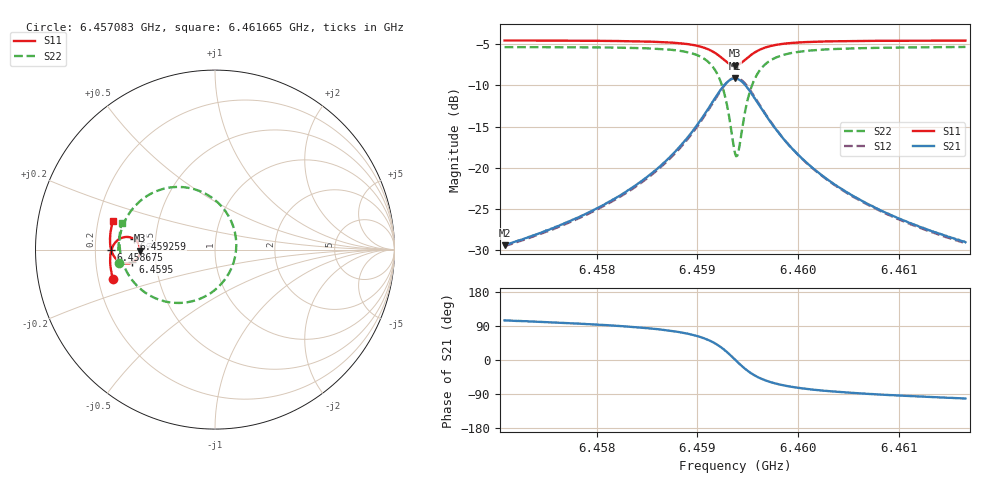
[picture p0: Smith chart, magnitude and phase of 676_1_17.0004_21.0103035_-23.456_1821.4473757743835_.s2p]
#  HZ  S  RI  R  50.00
! Rohde & Schwarz Vector Network Analyzer
! Rohde-Schwarz,ZNB20-2Port,1311601062101988,3.16
! Created: UTC 3/20/2024, 11:22:21 PM
! freq[Hz]  re:S11  im:S11  re:S21  im:S21  re:S12  im:S12  re:S22  im:S22
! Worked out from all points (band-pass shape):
!   401 points, 6.457083 GHz to 6.461665 GHz, reference 50 ohm
!   highest |S21| = -9.16 dB at 6.459374 GHz (marker M1); lowest = -29.4 dB at 6.457083 GHz (marker M2)
!   |S21| within 3 dB of the highest: 6.459143 GHz to 6.459601 GHz (458.3 kHz wide, 0.00709 % of centre)
!   lowest |S11| = -7.6 dB at 6.459374 GHz (marker M3), VSWR 2.43, Z = 20.6 - j0.294 ohm
!   |S11| at or under -10 dB: nowhere
!   |S22| runs from -18.6 to -5.3 dB; largest |S21 - S12| = 0.014
!   S11 on the Smith chart (normalised r, x): 6.457083 GHz: 0.26, -0.13; 6.458675 GHz: 0.27, -0.00; 6.459259 GHz: 0.38, +0.06; 6.4595 GHz: 0.37, -0.07; 6.461665 GHz: 0.26, +0.13
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6.4570833e9  -0.5692 -0.1636  -0.00852 0.0328  -0.00672 0.0328  -0.5339 -0.076
6.4578506e9  -0.5821 -0.096  -0.0049 0.0509  -0.00235 0.0503  -0.538 0.0145
6.4582401e9  -0.5843 -0.0572  0.000567 0.0684  0.0039 0.0671  -0.5301 0.0757
6.458618e9  -0.5798 -0.0122  0.0158 0.0995  0.0199 0.0966  -0.5018 0.16
6.4586753e9  -0.5779 -0.00418  0.0203 0.1065  0.0244 0.1032  -0.4932 0.1765
6.4588814e9  -0.5643 0.0278  0.0488 0.1389  0.0529 0.1336  -0.4399 0.2492
6.4590303e9  -0.5409 0.0537  0.0953 0.169  0.0983 0.1621  -0.3542 0.3131
6.4591678e9  -0.4961 0.0705  0.1841 0.184  0.1848 0.1765  -0.1919 0.3488
6.4592594e9  -0.4513 0.0589  0.2747 0.15  0.2746 0.1444  -0.024 0.2941
6.4593281e9  -0.4227 0.0256  0.334 0.0754  0.336 0.0705  0.0896 0.1598
6.4593739e9  -0.4168 -0.00591  0.3485 0.00654  0.3523 -0.000257  0.1188 0.0304
6.4593854e9  -0.4175 -0.014  0.3479 -0.0114  0.3516 -0.0189  0.1173 -0.00368
6.4594083e9  -0.4214 -0.0297  0.341 -0.0462  0.345 -0.0552  0.1042 -0.0697
6.4594541e9  -0.4379 -0.0554  0.3108 -0.1056  0.3129 -0.1175  0.043 -0.182
6.4594999e9  -0.4604 -0.0711  0.2672 -0.1456  0.2665 -0.1589  -0.0444 -0.2551
6.4595915e9  -0.504 -0.0769  0.1818 -0.1747  0.1755 -0.1862  -0.2151 -0.297
6.4597404e9  -0.5476 -0.0556  0.0941 -0.159  0.0855 -0.1651  -0.3822 -0.2441
6.4599008e9  -0.5687 -0.0275  0.0496 -0.1302  0.0418 -0.133  -0.4614 -0.1704
6.4601413e9  -0.5808 0.0082  0.021 -0.098  0.015 -0.0986  -0.5083 -0.0868
6.4604964e9  -0.585 0.0503  0.00481 -0.0703  0.000856 -0.0697  -0.529 -0.005
6.4609087e9  -0.5825 0.0917  -0.00234 -0.0522  -0.00506 -0.0513  -0.5319 0.0612
6.4616646e9  -0.5694 0.1587  -0.00707 -0.0346  -0.00874 -0.0338  -0.5194 0.1507
